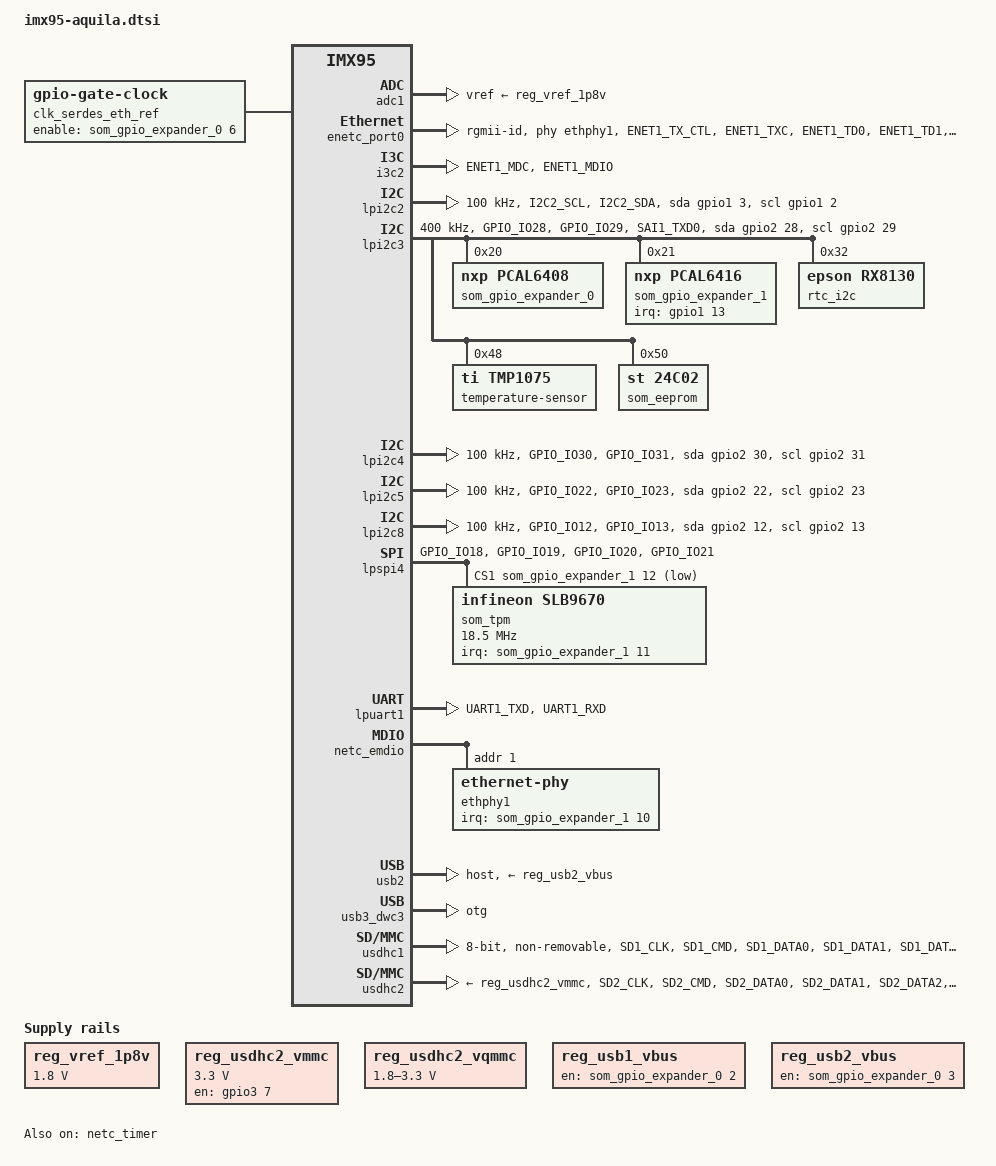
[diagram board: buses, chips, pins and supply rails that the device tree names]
// SPDX-License-Identifier: GPL-2.0-or-later OR MIT
/*
 * Copyright (C) 2025 Toradex
 *
 * https://www.toradex.com/computer-on-modules/aquila-arm-family/nxp-imx95
 */

#include <dt-bindings/net/ti-dp83867.h>
#include "imx95.dtsi"

/ {
	aliases {
		eeprom0 = &som_eeprom;
		ethernet0 = &enetc_port0;
		ethernet1 = &enetc_port2;
		i2c0 = &lpi2c3;
		i2c1 = &lpi2c2;
		i2c2 = &i3c2;
		i2c3 = &lpi2c8;
		i2c4 = &lpi2c4;
		i2c6 = &lpi2c5;
		mmc0 = &usdhc1;
		mmc1 = &usdhc2;
		rtc0 = &rtc_i2c;
		serial2 = &lpuart1;
	};

	chosen {
		stdout-path = "serial2:115200n8";
	};

	clk_serdes_eth_ref: clock-serdes-eth-ref {
		compatible = "gpio-gate-clock";
		#clock-cells = <0>;
		/* CTRL_ETH_REF_CLK_STBY# */
		enable-gpios = <&som_gpio_expander_0 6 GPIO_ACTIVE_HIGH>;
	};

	reg_vref_1p8v: regulator-vref-1p8v {
		compatible = "regulator-fixed";
		regulator-max-microvolt = <1800000>;
		regulator-min-microvolt = <1800000>;
		regulator-name = "VREF_V1.8";
	};

	reg_usdhc2_vmmc: regulator-usdhc2-vmmc {
		compatible = "regulator-fixed";
		pinctrl-names = "default";
		pinctrl-0 = <&pinctrl_sd1_pwr_en>;
		/* SD_1_PWR_EN */
		gpios = <&gpio3 7 GPIO_ACTIVE_HIGH>;
		enable-active-high;
		off-on-delay-us = <100000>;
		regulator-max-microvolt = <3300000>;
		regulator-min-microvolt = <3300000>;
		regulator-name = "SD_1_PWR_EN";
		startup-delay-us = <20000>;
	};

	reg_usdhc2_vqmmc: regulator-usdhc2-vqmmc {
		compatible = "regulator-gpio";
		/* PMIC_SD_1_VSEL */
		gpios = <&som_gpio_expander_1 9 GPIO_ACTIVE_HIGH>;
		regulator-max-microvolt = <3300000>;
		regulator-min-microvolt = <1800000>;
		regulator-name = "PMIC_SD_1_VSEL";
		states = <1800000 0x1>,
			 <3300000 0x0>;
	};

	reg_usb1_vbus: regulator-usb1-vbus {
		compatible = "regulator-fixed";
		/* USB_1_EN */
		gpios = <&som_gpio_expander_0 2 GPIO_ACTIVE_HIGH>;
		enable-active-high;
		regulator-name = "USB_1_EN";
	};

	reg_usb2_vbus: regulator-usb2-vbus {
		compatible = "regulator-fixed";
		/* USB_2_H_EN */
		gpios = <&som_gpio_expander_0 3 GPIO_ACTIVE_HIGH>;
		enable-active-high;
		regulator-name = "USB_2_H_EN";
	};
};

/* Aquila ADC_[1-4] */
&adc1 {
	vref-supply = <&reg_vref_1p8v>;
	status = "okay";
};

/* Aquila ETH_1 */
&enetc_port0 {
	pinctrl-names = "default";
	pinctrl-0 = <&pinctrl_enetc0>;
	phy-handle = <&ethphy1>;
	phy-mode = "rgmii-id";
};

/* Aquila ETH_2_XGMII */
&enetc_port2 {
	clocks = <&clk_serdes_eth_ref>;
	clock-names = "enet_ref_clk";
};

&gpio1 {
	gpio-line-names = "", /* 0 */
			  "",
			  "",
			  "",
			  "",
			  "",
			  "",
			  "",
			  "",
			  "",
			  "", /* 10 */
			  "",
			  "",
			  "CTRL_GPIO_EXP_INT#";
	status = "okay";
};

/* Aquila I2C_2 */
&i3c2 {
	pinctrl-names = "default";
	pinctrl-0 = <&pinctrl_i3c2>;
	i2c-scl-hz = <100000>;
};

/* Aquila I2C_1 */
&lpi2c2 {
	pinctrl-names = "default", "gpio";
	pinctrl-0 = <&pinctrl_lpi2c2>;
	pinctrl-1 = <&pinctrl_lpi2c2_gpio>;
	#address-cells = <1>;
	#size-cells = <0>;
	clock-frequency = <100000>;
	scl-gpios = <&gpio1 2 (GPIO_ACTIVE_HIGH | GPIO_OPEN_DRAIN)>;
	sda-gpios = <&gpio1 3 (GPIO_ACTIVE_HIGH | GPIO_OPEN_DRAIN)>;
};

/* On-module I2C - I2C_SOM */
&lpi2c3 {
	pinctrl-names = "default", "gpio";
	pinctrl-0 = <&pinctrl_lpi2c3>, <&pinctrl_ctrl_gpio_exp_int>;
	pinctrl-1 = <&pinctrl_lpi2c3_gpio>, <&pinctrl_ctrl_gpio_exp_int>;
	#address-cells = <1>;
	#size-cells = <0>;
	clock-frequency = <400000>;
	scl-gpios = <&gpio2 29 (GPIO_ACTIVE_HIGH | GPIO_OPEN_DRAIN)>;
	sda-gpios = <&gpio2 28 (GPIO_ACTIVE_HIGH | GPIO_OPEN_DRAIN)>;
	status = "okay";

	som_gpio_expander_0: gpio@20 {
		compatible = "nxp,pcal6408";
		reg = <0x20>;
		#gpio-cells = <2>;
		gpio-controller;
		gpio-line-names =
			"PCIE_1_RESET#", /* 0 */
			"PCIE_2_RESET#",
			"USB_1_EN",
			"USB_2_H_EN",
			"BT_DISABLE#",
			"WIFI_DISABLE#",
			"CTRL_ETH_REF_CLK_STBY",
			"CTRL_DP_BRIDGE_EN";
	};

	som_gpio_expander_1: gpio@21 {
		compatible = "nxp,pcal6416";
		reg = <0x21>;
		#interrupt-cells = <2>;
		interrupt-controller;
		interrupt-parent = <&gpio1>;
		interrupts = <13 IRQ_TYPE_LEVEL_LOW>;
		#gpio-cells = <2>;
		gpio-controller;
		gpio-line-names =
			"GPIO_13_CSI_2", /* 0 */
			"GPIO_14_CSI_2",
			"GPIO_15_CSI_2",
			"GPIO_16_CSI_2",
			"PCIE_WAKE#",
			"USB_1_INT#",
			"USB_1_OC#",
			"USB_2_H_OC#",
			"ETH_2_XGMII_INT#",
			"PMIC_SD_1_VSEL",
			"ETH_1_INT#", /* 10 */
			"CTRL_TPM_INT#",
			"SPI_2_CS2_TPM",
			"PCIE_WAKE_WIFI#",
			"WIFI_WAKE_BT",
			"WIFI_WAKEUP_HOST";
	};

	rtc_i2c: rtc@32 {
		compatible = "epson,rx8130";
		reg = <0x32>;
	};

	temperature-sensor@48 {
		compatible = "ti,tmp1075";
		reg = <0x48>;
	};

	som_eeprom: eeprom@50 {
		compatible = "st,24c02", "atmel,24c02";
		reg = <0x50>;
		pagesize = <16>;
	};
};

/* Aquila I2C_4_CSI1 */
&lpi2c4 {
	pinctrl-names = "default", "gpio";
	pinctrl-0 = <&pinctrl_lpi2c4>;
	pinctrl-1 = <&pinctrl_lpi2c4_gpio>;
	#address-cells = <1>;
	#size-cells = <0>;
	clock-frequency = <100000>;
	scl-gpios = <&gpio2 31 (GPIO_ACTIVE_HIGH | GPIO_OPEN_DRAIN)>;
	sda-gpios = <&gpio2 30 (GPIO_ACTIVE_HIGH | GPIO_OPEN_DRAIN)>;
};

/* Aquila I2C_6 */
&lpi2c5 {
	pinctrl-names = "default", "gpio";
	pinctrl-0 = <&pinctrl_lpi2c5>;
	pinctrl-1 = <&pinctrl_lpi2c5_gpio>;
	#address-cells = <1>;
	#size-cells = <0>;
	clock-frequency = <100000>;
	scl-gpios = <&gpio2 23 (GPIO_ACTIVE_HIGH | GPIO_OPEN_DRAIN)>;
	sda-gpios = <&gpio2 22 (GPIO_ACTIVE_HIGH | GPIO_OPEN_DRAIN)>;
};

/* Aquila I2C_3_DSI1/I2C_5_CSI2 */
&lpi2c8 {
	pinctrl-names = "default", "gpio";
	pinctrl-0 = <&pinctrl_lpi2c8>;
	pinctrl-1 = <&pinctrl_lpi2c8_gpio>;
	#address-cells = <1>;
	#size-cells = <0>;
	clock-frequency = <100000>;
	scl-gpios = <&gpio2 13 (GPIO_ACTIVE_HIGH | GPIO_OPEN_DRAIN)>;
	sda-gpios = <&gpio2 12 (GPIO_ACTIVE_HIGH | GPIO_OPEN_DRAIN)>;
};

/* Aquila SPI_2 */
&lpspi4 {
	pinctrl-names = "default";
	pinctrl-0 = <&pinctrl_lpspi4>;
	cs-gpios = <&gpio2 18 GPIO_ACTIVE_LOW>,
		   <&som_gpio_expander_1 12 GPIO_ACTIVE_LOW>;
	status = "okay";

	som_tpm: tpm@1 {
		compatible = "infineon,slb9670", "tcg,tpm_tis-spi";
		reg = <0x1>;
		interrupt-parent = <&som_gpio_expander_1>;
		interrupts = <11 IRQ_TYPE_EDGE_FALLING>;
		spi-max-frequency = <18500000>;
	};
};

/* Aquila SPI_1 */
&lpspi6 {
	pinctrl-names = "default";
	pinctrl-0 = <&pinctrl_lpspi6>;
	cs-gpios = <&gpio2 0 GPIO_ACTIVE_LOW>;
	status = "disabled";
};

/* Aquila UART_3, used as the Linux Console */
&lpuart1 {
	pinctrl-names = "default";
	pinctrl-0 = <&pinctrl_uart1>;
};

/* Aquila ETH_2_XGMII_MDIO, shared between all ethernet ports */
&netc_emdio {
	pinctrl-names = "default";
	pinctrl-0 = <&pinctrl_emdio>;

	ethphy1: ethernet-phy@1 {
		reg = <1>;
		interrupt-parent = <&som_gpio_expander_1>;
		interrupts = <10 IRQ_TYPE_EDGE_FALLING>;
		ti,rx-internal-delay = <DP83867_RGMIIDCTL_2_00_NS>;
		ti,tx-internal-delay = <DP83867_RGMIIDCTL_2_00_NS>;
	};
};

&netc_prb_ierb {
	netc-interfaces = <NXP_NETC_RGMII>,
			  <NXP_NETC_RGMII>,
			  <NXP_NETC_SERIAL>;
};

&netc_timer {
	status = "okay";
};

/* Aquila USB_2, optional Bluetooth USB */
&usb2 {
	dr_mode = "host";
	vbus-supply = <&reg_usb2_vbus>;
};

/* Aquila USB_1 */
&usb3 {
	fsl,disable-port-power-control;
};

&usb3_dwc3 {
	dr_mode = "otg";
	adp-disable;
	hnp-disable;
	srp-disable;
	usb-role-switch;
};

&usb3_phy {
	vbus-supply = <&reg_usb1_vbus>;
};

/* On-module eMMC */
&usdhc1 {
	pinctrl-names = "default", "state_100mhz", "state_200mhz";
	pinctrl-0 = <&pinctrl_usdhc1>;
	pinctrl-1 = <&pinctrl_usdhc1>;
	pinctrl-2 = <&pinctrl_usdhc1_200mhz>;
	bus-width = <8>;
	non-removable;
	no-sdio;
	no-sd;
	status = "okay";
};

/* Aquila SD_1 */
&usdhc2 {
	pinctrl-names = "default", "state_100mhz", "state_200mhz", "sleep";
	pinctrl-0 = <&pinctrl_usdhc2>, <&pinctrl_sd1_cd_gpio>;
	pinctrl-1 = <&pinctrl_usdhc2>, <&pinctrl_sd1_cd_gpio>;
	pinctrl-2 = <&pinctrl_usdhc2_200mhz>,<&pinctrl_sd1_cd_gpio>;
	pinctrl-3 = <&pinctrl_usdhc2_sleep>, <&pinctrl_sd1_cd_gpio>;
	cd-gpios = <&gpio3 0 GPIO_ACTIVE_LOW>;
	vmmc-supply = <&reg_usdhc2_vmmc>;
	vqmmc-supply = <&reg_usdhc2_vqmmc>;
};

&scmi_iomuxc {
	/* Aquila ETH_2_XGMII_MDIO */
	pinctrl_emdio: emdiogrp {
		fsl,pinx = <IMX95_PAD_ENET2_MDC__NETCMIX_TOP_NETC_MDC	0x57e>,
			   <IMX95_PAD_ENET2_MDIO__NETCMIX_TOP_NETC_MDIO	0x97e>;
	};

	/* Aquila ETH_1 */
	pinctrl_enetc0: enetc0grp {
		fsl,pins = <IMX95_PAD_ENET1_TX_CTL__NETCMIX_TOP_ETH0_RGMII_TX_CTL	0x57e>, /* ENET1_TX_CTL */
			   <IMX95_PAD_ENET1_TXC__NETCMIX_TOP_ETH0_RGMII_TX_CLK		0x58e>, /* ENET1_TXC    */
			   <IMX95_PAD_ENET1_TD0__NETCMIX_TOP_ETH0_RGMII_TD0		0x50e>, /* ENET1_TDO    */
			   <IMX95_PAD_ENET1_TD1__NETCMIX_TOP_ETH0_RGMII_TD1		0x50e>, /* ENET1_TD1    */
			   <IMX95_PAD_ENET1_TD2__NETCMIX_TOP_ETH0_RGMII_TD2		0x50e>, /* ENET1_TD2    */
			   <IMX95_PAD_ENET1_TD3__NETCMIX_TOP_ETH0_RGMII_TD3		0x50e>, /* ENET1_TD3    */
			   <IMX95_PAD_ENET1_RX_CTL__NETCMIX_TOP_ETH0_RGMII_RX_CTL	0x57e>, /* ENET1_RX_CTL */
			   <IMX95_PAD_ENET1_RXC__NETCMIX_TOP_ETH0_RGMII_RX_CLK		0x58e>, /* ENET1_RXC    */
			   <IMX95_PAD_ENET1_RD0__NETCMIX_TOP_ETH0_RGMII_RD0		0x57e>, /* ENET1_RD0    */
			   <IMX95_PAD_ENET1_RD1__NETCMIX_TOP_ETH0_RGMII_RD1		0x57e>, /* ENET1_RD1    */
			   <IMX95_PAD_ENET1_RD2__NETCMIX_TOP_ETH0_RGMII_RD2		0x57e>, /* ENET1_RD2    */
			   <IMX95_PAD_ENET1_RD3__NETCMIX_TOP_ETH0_RGMII_RD3		0x57e>; /* ENET1_RD3    */
	};

	pinctrl_ctrl_gpio_exp_int: gpioexpintgrp {
		fsl,pins = <IMX95_PAD_SAI1_TXD0__AONMIX_TOP_GPIO1_IO_BIT13	0x31e>; /* CTRL_GPIO_EXP_INT# */
	};

	/* Aquila I2C_2 */
	pinctrl_i3c2: i3c2cgrp {
		fsl,pins = <IMX95_PAD_ENET1_MDC__I3C2_SCL	0x40001186>, /* I2C_2_SCL */
			   <IMX95_PAD_ENET1_MDIO__I3C2_SDA	0x40001186>; /* I2C_2_SDL */
	};

	/* Aquila I2C_1 */
	pinctrl_lpi2c2: lpi2c2grp {
		fsl,pins = <IMX95_PAD_I2C2_SCL__AONMIX_TOP_LPI2C2_SCL	0x40001b9e>, /* I2C_1_SCL */
			   <IMX95_PAD_I2C2_SDA__AONMIX_TOP_LPI2C2_SDA	0x40001b9e>; /* I2C_1_SDA */
	};

	/* Aquila I2C_1 as GPIOs */
	pinctrl_lpi2c2_gpio: lpi2c2gpiogrp {
		fsl,pins = <IMX95_PAD_I2C2_SCL__AONMIX_TOP_GPIO1_IO_BIT2	0x40001b9e>, /* I2C_1_SCL */
			   <IMX95_PAD_I2C2_SDA__AONMIX_TOP_GPIO1_IO_BIT3	0x40001b9e>; /* I2C_1_SDA */
	};

	/* On-module I2C */
	pinctrl_lpi2c3: lpi2c3grp {
		fsl,pins = <IMX95_PAD_GPIO_IO28__LPI2C3_SDA	0x40001b9e>, /* I2C_SOM_SDA */
			   <IMX95_PAD_GPIO_IO29__LPI2C3_SCL	0x40001b9e>; /* I2C_SOM_SCL */
	};

	/* On-module I2C as GPIOs */
	pinctrl_lpi2c3_gpio: lpi2c3gpiogrp {
		fsl,pins = <IMX95_PAD_GPIO_IO28__GPIO2_IO_BIT28	0x40001b9e>, /* I2C_SOM_SDA */
			   <IMX95_PAD_GPIO_IO29__GPIO2_IO_BIT29	0x40001b9e>; /* I2C_SOM_SCL */
	};

	/* Aquila I2C_4_CSI1 */
	pinctrl_lpi2c4: lpi2c4grp {
		fsl,pins = <IMX95_PAD_GPIO_IO30__LPI2C4_SDA	0x40001b9e>, /* I2C_4_CSI1_SDA */
			   <IMX95_PAD_GPIO_IO31__LPI2C4_SCL	0x40001b9e>; /* I2C_4_CSI1_SCL */
	};

	/* Aquila I2C_4_CSI1 as GPIO */
	pinctrl_lpi2c4_gpio: lpi2c4gpiogrp {
		fsl,pins = <IMX95_PAD_GPIO_IO30__GPIO2_IO_BIT30	0x40001b9e>, /* I2C_4_CSI1_SDA */
			   <IMX95_PAD_GPIO_IO31__GPIO2_IO_BIT31	0x40001b9e>; /* I2C_4_CSI1_SCL */
	};

	/* Aquila I2C_6 */
	pinctrl_lpi2c5: lpi2c5grp {
		fsl,pins = <IMX95_PAD_GPIO_IO22__LPI2C5_SDA	0x40001b9e>, /* I2C_6_SDA */
			   <IMX95_PAD_GPIO_IO23__LPI2C5_SCL	0x40001b9e>; /* I2C_6_SCL */
	};

	/* Aquila I2C_6 as GPIO */
	pinctrl_lpi2c5_gpio: lpi2c5grp {
		fsl,pins = <IMX95_PAD_GPIO_IO22__GPIO2_IO_BIT22	0x40001b9e>, /* I2C_6_SDA */
			   <IMX95_PAD_GPIO_IO23__GPIO2_IO_BIT23	0x40001b9e>; /* I2C_6_SCL */
	};

	/* Aquila I2C_3_DSI1/I2C_5_CSI2 */
	pinctrl_lpi2c8: lpi2c8grp {
		fsl,pins = <IMX95_PAD_GPIO_IO12__LPI2C8_SDA	0x40001b9e>, /* I2C_3_DSI1/I2C_5_CSI2 SDA */
			   <IMX95_PAD_GPIO_IO13__LPI2C8_SCL	0x40001b9e>; /* I2C_3_DSI1/I2C_5_CSI2 SCL */
	};

	/* Aquila I2C_3_DSI1/I2C_5_CSI2 as GPIO */
	pinctrl_lpi2c8_gpio: lpi2c8gpiogrp {
		fsl,pins = <IMX95_PAD_GPIO_IO12__GPIO2_IO_BIT12	0x40001b9e>, /* I2C_3_DSI1/I2C_5_CSI2 SDA */
			   <IMX95_PAD_GPIO_IO13__GPIO2_IO_BIT13	0x40001b9e>; /* I2C_3_DSI1/I2C_5_CSI2 SCL */
	};

	/* Aquila SPI_2 */
	pinctrl_lpspi4: lpspi4grp {
		fsl,pins = <IMX95_PAD_GPIO_IO18__GPIO2_IO_BIT18	0x3fe>, /* SPI_2_CS   */
			   <IMX95_PAD_GPIO_IO19__LPSPI4_SIN	0x3fe>, /* SPI_2_MISO */
			   <IMX95_PAD_GPIO_IO20__LPSPI4_SOUT	0x3fe>, /* SPI_2_MOSI */
			   <IMX95_PAD_GPIO_IO21__LPSPI4_SCK	0x3fe>; /* SPI_2_CLK  */
	};

	/* Aquila SPI_1 */
	pinctrl_lpspi6: lpspi6grp {
		fsl,pins = <IMX95_PAD_GPIO_IO00__GPIO2_IO_BIT0	0x3fe>, /* SPI_1_CS   */
			   <IMX95_PAD_GPIO_IO01__LPSPI6_SIN	0x3fe>, /* SPI_1_MISO */
			   <IMX95_PAD_GPIO_IO02__LPSPI6_SOUT	0x3fe>, /* SPI_1_MOSI */
			   <IMX95_PAD_GPIO_IO03__LPSPI6_SCK	0x3fe>; /* SPI_1_CLK  */
	};

	/* Aquila SD_1_CD# as GPIO */
	pinctrl_sd1_cd_gpio: sd1cdgpiogrp {
		fsl,pins = <IMX95_PAD_SD2_CD_B__GPIO3_IO_BIT0	0x1100>; /* SD_1_CD# */
	};

	/* Aquila SD_1_PWR_EN */
	pinctrl_sd1_pwr_en: sd1pwrengpiogrp {
		fsl,pins = <IMX95_PAD_SD2_RESET_B__GPIO3_IO_BIT7	0x11e>; /* SD_1_PWR_EN */
	};

	/* Aquila UART_3 */
	pinctrl_uart1: uart1grp {
		fsl,pins = <IMX95_PAD_UART1_TXD__AONMIX_TOP_LPUART1_TX	0x31e>, /* UART_3_TXD */
			   <IMX95_PAD_UART1_RXD__AONMIX_TOP_LPUART1_RX	0x31e>; /* UART_3_RXD */
	};

	/* On-module eMMC */
	pinctrl_usdhc1: usdhc1grp {
		fsl,pins = <IMX95_PAD_SD1_CLK__USDHC1_CLK	0x158e>, /* eMMC_CLK    */
			   <IMX95_PAD_SD1_CMD__USDHC1_CMD	0x138e>, /* eMMC_CMD    */
			   <IMX95_PAD_SD1_DATA0__USDHC1_DATA0	0x138e>, /* eMMC_DATA0  */
			   <IMX95_PAD_SD1_DATA1__USDHC1_DATA1	0x138e>, /* eMMC_DATA1  */
			   <IMX95_PAD_SD1_DATA2__USDHC1_DATA2	0x138e>, /* eMMC_DATA2  */
			   <IMX95_PAD_SD1_DATA3__USDHC1_DATA3	0x138e>, /* eMMC_DATA3  */
			   <IMX95_PAD_SD1_DATA4__USDHC1_DATA4	0x138e>, /* eMMC_DATA4  */
			   <IMX95_PAD_SD1_DATA5__USDHC1_DATA5	0x138e>, /* eMMC_DATA5  */
			   <IMX95_PAD_SD1_DATA6__USDHC1_DATA6	0x138e>, /* eMMC_DATA6  */
			   <IMX95_PAD_SD1_DATA7__USDHC1_DATA7	0x138e>, /* eMMC_DATA7  */
			   <IMX95_PAD_SD1_STROBE__USDHC1_STROBE	0x158e>; /* eMMC_STROBE */
	};

	pinctrl_usdhc1_200mhz: usdhc1-200mhzgrp {
		fsl,pins = <IMX95_PAD_SD1_CLK__USDHC1_CLK	0x15fe>, /* eMMC_CLK    */
			   <IMX95_PAD_SD1_CMD__USDHC1_CMD	0x13fe>, /* eMMC_CMD    */
			   <IMX95_PAD_SD1_DATA0__USDHC1_DATA0	0x13fe>, /* eMMC_DATA0  */
			   <IMX95_PAD_SD1_DATA1__USDHC1_DATA1	0x13fe>, /* eMMC_DATA1  */
			   <IMX95_PAD_SD1_DATA2__USDHC1_DATA2	0x13fe>, /* eMMC_DATA2  */
			   <IMX95_PAD_SD1_DATA3__USDHC1_DATA3	0x13fe>, /* eMMC_DATA3  */
			   <IMX95_PAD_SD1_DATA4__USDHC1_DATA4	0x13fe>, /* eMMC_DATA4  */
			   <IMX95_PAD_SD1_DATA5__USDHC1_DATA5	0x13fe>, /* eMMC_DATA5  */
			   <IMX95_PAD_SD1_DATA6__USDHC1_DATA6	0x13fe>, /* eMMC_DATA6  */
			   <IMX95_PAD_SD1_DATA7__USDHC1_DATA7	0x13fe>, /* eMMC_DATA7  */
			   <IMX95_PAD_SD1_STROBE__USDHC1_STROBE	0x15fe>; /* eMMC_STROBE */
	};

	/* Aquila SD_1 */
	pinctrl_usdhc2: usdhc2grp {
		fsl,pins = <IMX95_PAD_SD2_CLK__USDHC2_CLK	0x158e>, /* SD_1_CLK */
			   <IMX95_PAD_SD2_CMD__USDHC2_CMD	0x138e>, /* SD_1_CMD */
			   <IMX95_PAD_SD2_DATA0__USDHC2_DATA0	0x138e>, /* SD_1_D0  */
			   <IMX95_PAD_SD2_DATA1__USDHC2_DATA1	0x138e>, /* SD_1_D1  */
			   <IMX95_PAD_SD2_DATA2__USDHC2_DATA2	0x138e>, /* SD_1_D2  */
			   <IMX95_PAD_SD2_DATA3__USDHC2_DATA3	0x138e>; /* SD_1_D3  */
	};

	pinctrl_usdhc2_200mhz: usdhc2-200mhzgrp {
		fsl,pins = <IMX95_PAD_SD2_CLK__USDHC2_CLK	0x15fe>, /* SD_1_CLK */
			   <IMX95_PAD_SD2_CMD__USDHC2_CMD	0x13fe>, /* SD_1_CMD */
			   <IMX95_PAD_SD2_DATA0__USDHC2_DATA0	0x13fe>, /* SD_1_D0  */
			   <IMX95_PAD_SD2_DATA1__USDHC2_DATA1	0x13fe>, /* SD_1_D1  */
			   <IMX95_PAD_SD2_DATA2__USDHC2_DATA2	0x13fe>, /* SD_1_D2  */
			   <IMX95_PAD_SD2_DATA3__USDHC2_DATA3	0x13fe>; /* SD_1_D3  */
	};

	pinctrl_usdhc2_sleep: usdhc2-sleepgrp {
		fsl,pins = <IMX95_PAD_SD2_CLK__USDHC2_CLK	0x400>, /* SD_1_CLK */
			   <IMX95_PAD_SD2_CMD__USDHC2_CMD	0x400>, /* SD_1_CMD */
			   <IMX95_PAD_SD2_DATA0__USDHC2_DATA0	0x400>, /* SD_1_D0  */
			   <IMX95_PAD_SD2_DATA1__USDHC2_DATA1	0x400>, /* SD_1_D1  */
			   <IMX95_PAD_SD2_DATA2__USDHC2_DATA2	0x400>, /* SD_1_D2  */
			   <IMX95_PAD_SD2_DATA3__USDHC2_DATA3	0x400>; /* SD_1_D3  */
	};
};
